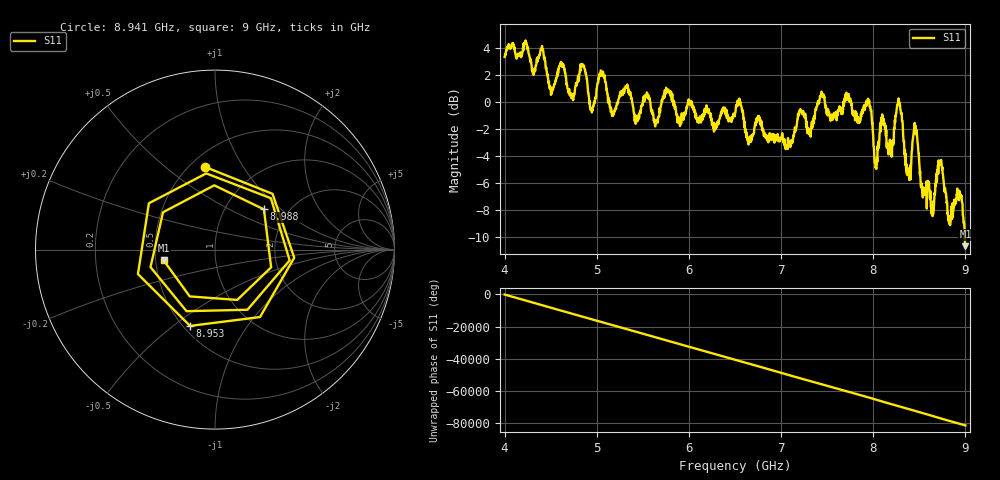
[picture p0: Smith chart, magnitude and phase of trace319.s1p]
! Created with skrf 1.8.0 (http://scikit-rf.org).
# Hz S RI R 50.0
!freq ReS11 ImS11
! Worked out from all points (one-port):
!   1601 points, 4 GHz to 9 GHz, reference 50 ohm
!   lowest |S11| = -10.7 dB at 9 GHz (marker M1), VSWR 1.83, Z = 27.6 - j3.61 ohm
!   |S11| at or under -10 dB: 8.99262 GHz to end of sweep
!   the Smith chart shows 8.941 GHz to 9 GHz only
!   S11 on the Smith chart (normalised r, x): 8.941 GHz: 0.59, +0.70; 8.953 GHz: 0.54, -0.58; 8.988 GHz: 1.51, +0.77; 9 GHz: 0.55, -0.07
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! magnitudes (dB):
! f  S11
! 4 GHz  3.4
! 4.406 GHz  4.2
! 4.509 GHz  0.8
! 4.625 GHz  2.6
! 4.731 GHz  0.5
! 4.85 GHz  2.7
! 4.944 GHz  -0.6
! 5.05 GHz  2.1
! 5.166 GHz  -1.0
! 5.25 GHz  0.4
! 5.875 GHz  -1.5
! 6.5 GHz  -0.8
! 7.125 GHz  -2.8
! 7.444 GHz  0.6
! 7.75 GHz  0.3
! 7.953 GHz  0.0
! 8.031 GHz  -4.9
! 8.284 GHz  0.0
! 8.375 GHz  -5.3
! 8.456 GHz  -1.7
! 8.531 GHz  -6.6
! 8.634 GHz  -8.3
! 8.725 GHz  -4.5
! 8.831 GHz  -8.5
! 8.941 GHz  -6.7
! 8.953 GHz  -7.0
! 8.988 GHz  -9.0
! 9 GHz  -10.7
